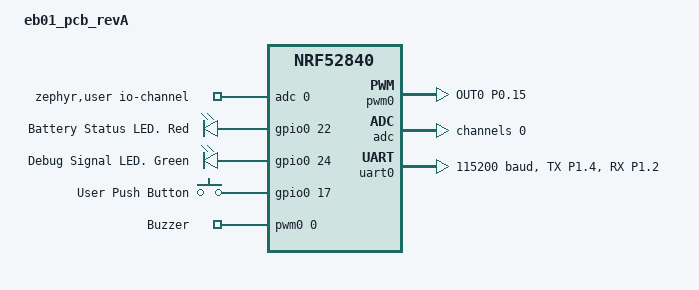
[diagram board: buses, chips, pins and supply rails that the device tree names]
// Copyright (c) 2023 Nordic Semiconductor ASA
// SPDX-License-Identifier: Apache-2.0

/dts-v1/;
#include <nordic/nrf52840_qiaa.dtsi>

/ {
	model = "eb01_pcb_revA";
	compatible = "grem,eb01-pcb-reva";

	chosen {
        zephyr,console = &uart0;
		zephyr,sram = &sram0;
		zephyr,flash = &flash0;
		zephyr,code-partition = &slot0_partition;
	};

    zephyr,user {
		io-channels = <&adc 0>;
	};

    leds {
        compatible = "gpio-leds";

        led_bat: led_bat {
            gpios = < &gpio0 22 GPIO_ACTIVE_HIGH >;
            label = "Battery Status LED. Red";
        };

        led_dbg: led_dbg {
            gpios = < &gpio0 24 GPIO_ACTIVE_HIGH >;
            label = "Debug Signal LED. Green";
        };
    };

    buttons {
        compatible = "gpio-keys";

        button0: button0 {
            gpios = < &gpio0 17 (GPIO_PULL_DOWN | GPIO_ACTIVE_HIGH)>;
            label = "User Push Button";
        };
        wakeup-source;
    };

    pwmbuzzer {
        compatible = "pwm-leds";

        buzzer0: buzzer0 {
            pwms = < &pwm0 0 PWM_KHZ(4) PWM_POLARITY_NORMAL >;
            label = "Buzzer";
        };
    };

    aliases {
        sw0 = &button0;
        sound0 = &buzzer0;
    };
};

&gpiote {
    status = "okay";
};

&gpio0 {
    status = "okay";
};

&gpio1 {
    status = "okay";
};

&pwm0 {
    status = "okay";

    pinctrl-0 = <&pwm0_default>;
    pinctrl-1 = <&pwm0_sleep>;

    pinctrl-names = "default", "sleep";
};

&adc {
    status = "okay";

    #address-cells = <1>;
    #size-cells = <0>;

    channel@0 {
        reg = <0>;
        zephyr,gain = "ADC_GAIN_1_6";
        zephyr,reference = "ADC_REF_INTERNAL";
        zephyr,acquisition-time = <ADC_ACQ_TIME_DEFAULT>;
        zephyr,input-positive = <NRF_SAADC_AIN0>; /* P0.02 */
        zephyr,resolution = <12>;
    };
};

&uart0 {
    compatible = "nordic,nrf-uart";
    status = "okay";

    current-speed = <115200>;
    
    pinctrl-0 = <&uart0_default>;
    pinctrl-1 = <&uart0_sleep>;

    pinctrl-names = "default", "sleep";
};


&pinctrl {

    // P1.02 - DBG_RX
    // P1.04 - DBG_TX

    uart0_default: uart0_default {
        group1 {
            psels = <NRF_PSEL(UART_TX, 1, 4)>, <NRF_PSEL(UART_RX, 1, 2)>;
        };
    };

    uart0_sleep: uart0_sleep {
        group1 {
            psels = <NRF_PSEL(UART_TX, 1, 4)>, <NRF_PSEL(UART_RX, 1, 2)>;
            low-power-enable;
        };
    };

    // P0.15 - Sound (PWM)

    pwm0_default: pwm0_default {
        group1 {
            psels = <NRF_PSEL(PWM_OUT0, 0, 15)>;
        };
    };

    pwm0_sleep: pwm0_sleep {
        group1 {
            psels = <NRF_PSEL(PWM_OUT0, 0, 15)>;
            low-power-enable;
        };
    };
};

&flash0 {
	partitions {
		compatible = "fixed-partitions";
		#address-cells = <1>;
		#size-cells = <1>;

		boot_partition: partition@0 {
			label = "mcuboot";
			reg = <0x0 0xc000>;
		};
		slot0_partition: partition@c000 {
			label = "image-0";
			reg = <0xc000 0x72000>;
		};
		slot1_partition: partition@7e000 {
			label = "image-1";
			reg = <0x7e000 0x72000>;
		};
		scratch_partition: partition@f0000 {
			label = "image-scratch";
			reg = <0xf0000 0xa000>;
		};
		storage_partition: partition@fa000 {
			label = "storage";
			reg = <0xfa000 0x6000>;
		};
	};
};

